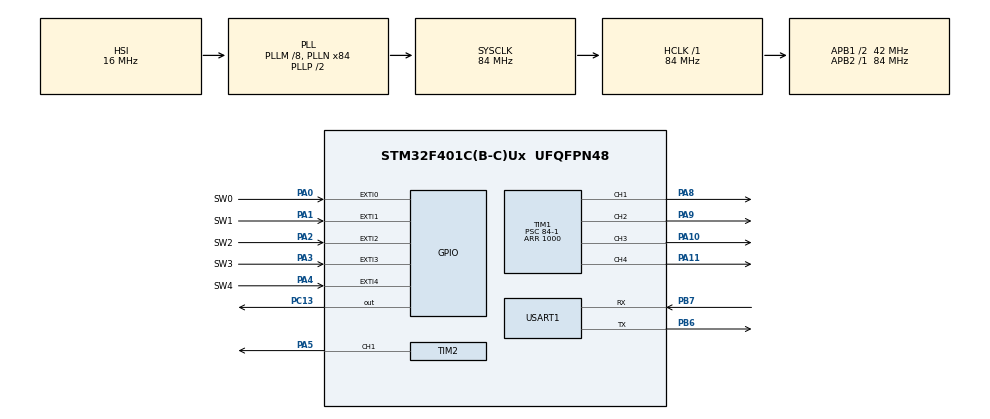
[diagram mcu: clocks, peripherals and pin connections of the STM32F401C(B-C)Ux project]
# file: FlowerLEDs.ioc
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Mcu.Family=STM32F4
Mcu.Name=STM32F401C(B-C)Ux
Mcu.Package=UFQFPN48
NVIC.EXTI0_IRQn=true\:0\:0\:false\:false\:true\:true\:true\:true
NVIC.EXTI1_IRQn=true\:0\:0\:false\:false\:true\:true\:true\:true
NVIC.EXTI2_IRQn=true\:0\:0\:false\:false\:true\:true\:true\:true
NVIC.EXTI3_IRQn=true\:0\:0\:false\:false\:true\:true\:true\:true
NVIC.EXTI4_IRQn=true\:0\:0\:false\:false\:true\:true\:true\:true
NVIC.PriorityGroup=NVIC_PRIORITYGROUP_4
NVIC.TIM3_IRQn=true\:2\:0\:true\:false\:true\:true\:true\:true
NVIC.TIM4_IRQn=true\:0\:0\:false\:false\:true\:true\:true\:true
NVIC.TIM5_IRQn=true\:0\:0\:false\:false\:true\:true\:true\:true
PA0-WKUP.GPIO_Label=SW0
PA0-WKUP.GPIO_ModeDefaultEXTI=GPIO_MODE_IT_RISING
PA0-WKUP.GPIO_PuPd=GPIO_PULLDOWN
PA0-WKUP.Signal=GPXTI0
PA1.GPIO_Label=SW1
PA1.GPIO_ModeDefaultEXTI=GPIO_MODE_IT_RISING
PA1.GPIO_PuPd=GPIO_PULLDOWN
PA1.Signal=GPXTI1
PA10.Signal=S_TIM1_CH3
PA11.Signal=S_TIM1_CH4
PA2.GPIO_Label=SW2
PA2.GPIO_ModeDefaultEXTI=GPIO_MODE_IT_RISING
PA2.GPIO_PuPd=GPIO_PULLDOWN
PA2.Signal=GPXTI2
PA3.GPIO_Label=SW3
PA3.GPIO_ModeDefaultEXTI=GPIO_MODE_IT_RISING
PA3.GPIO_PuPd=GPIO_PULLDOWN
PA3.Signal=GPXTI3
PA4.GPIO_Label=SW4
PA4.GPIO_ModeDefaultEXTI=GPIO_MODE_IT_RISING
PA4.GPIO_PuPd=GPIO_PULLDOWN
PA4.Signal=GPXTI4
PA5.Signal=S_TIM2_CH1_ETR
PA8.Signal=S_TIM1_CH1
PA9.Signal=S_TIM1_CH2
PB6.Mode=Asynchronous
PB6.Signal=USART1_TX
PB7.Mode=Asynchronous
PB7.Signal=USART1_RX
PC13-ANTI_TAMP.GPIO_ModeDefaultOutputPP=GPIO_MODE_OUTPUT_PP
PC13-ANTI_TAMP.GPIO_PuPd=GPIO_PULLUP
PC13-ANTI_TAMP.PinState=GPIO_PIN_SET
PC13-ANTI_TAMP.Signal=GPIO_Output
ProjectManager.HeapSize=0x200
ProjectManager.StackSize=0x400
ProjectManager.TargetToolchain=STM32CubeIDE
RCC.48MHZClocksFreq_Value=42000000
RCC.AHBFreq_Value=84000000
RCC.APB1CLKDivider=RCC_HCLK_DIV2
RCC.APB1Freq_Value=42000000
RCC.APB1TimFreq_Value=84000000
RCC.APB2Freq_Value=84000000
RCC.APB2TimFreq_Value=84000000
RCC.CortexFreq_Value=84000000
RCC.HCLKFreq_Value=84000000
RCC.HSE_VALUE=25000000
RCC.HSI_VALUE=16000000
RCC.LSE_VALUE=32768
RCC.PLLM=8
RCC.PLLN=84
RCC.SYSCLKFreq_VALUE=84000000
RCC.SYSCLKSource=RCC_SYSCLKSOURCE_PLLCLK
RCC.VCOOutputFreq_Value=168000000
SH.S_TIM1_CH1.0=TIM1_CH1,PWM Generation1 CH1
SH.S_TIM1_CH2.0=TIM1_CH2,PWM Generation2 CH2
SH.S_TIM1_CH3.0=TIM1_CH3,PWM Generation3 CH3
SH.S_TIM1_CH4.0=TIM1_CH4,PWM Generation4 CH4
SH.S_TIM2_CH1_ETR.0=TIM2_CH1,PWM Generation1 CH1
TIM1.AutoReloadPreload=TIM_AUTORELOAD_PRELOAD_ENABLE
TIM1.Channel-PWM\ Generation1\ CH1=TIM_CHANNEL_1
TIM1.Channel-PWM\ Generation2\ CH2=TIM_CHANNEL_2
TIM1.Channel-PWM\ Generation3\ CH3=TIM_CHANNEL_3
TIM1.Channel-PWM\ Generation4\ CH4=TIM_CHANNEL_4
TIM1.Period=1000
TIM1.Prescaler=84-1
TIM1.Pulse-PWM\ Generation1\ CH1=100
TIM1.Pulse-PWM\ Generation2\ CH2=200
TIM1.Pulse-PWM\ Generation3\ CH3=400
TIM1.Pulse-PWM\ Generation4\ CH4=800
TIM2.AutoReloadPreload=TIM_AUTORELOAD_PRELOAD_ENABLE
TIM2.Channel-PWM\ Generation1\ CH1=TIM_CHANNEL_1
TIM2.Period=1000
TIM2.Prescaler=84-1
TIM2.Pulse-PWM\ Generation1\ CH1=980
TIM3.AutoReloadPreload=TIM_AUTORELOAD_PRELOAD_ENABLE
TIM3.Period=4000-1
TIM3.Prescaler=840-1
TIM4.AutoReloadPreload=TIM_AUTORELOAD_PRELOAD_ENABLE
TIM4.Period=1000
TIM4.Prescaler=840-1
TIM5.AutoReloadPreload=TIM_AUTORELOAD_PRELOAD_ENABLE
TIM5.Period=5000
TIM5.Prescaler=8400-1
USART1.VirtualMode=VM_ASYNC
VP_TIM1_VS_ClockSourceINT.Mode=Internal
VP_TIM2_VS_ClockSourceINT.Mode=Internal
VP_TIM3_VS_ClockSourceINT.Mode=Internal
VP_TIM4_VS_ClockSourceINT.Mode=Internal
VP_TIM5_VS_ClockSourceINT.Mode=Internal
board=custom

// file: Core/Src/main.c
/* USER CODE BEGIN Header */
/**
  ******************************************************************************
  * @file           : main.c
  * @brief          : Main program body
  ******************************************************************************
  * @attention
  *
  * Copyright (c) 2023 STMicroelectronics.
  * All rights reserved.
  *
  * This software is licensed under terms that can be found in the LICENSE file
  * in the root directory of this software component.
  * If no LICENSE file comes with this software, it is provided AS-IS.
  *
  ******************************************************************************
  */
/* USER CODE END Header */
#include "main.h"
#include "tim.h"
#include "usart.h"
#include "gpio.h"

/* USER CODE BEGIN PD */
#define LED0  &htim1, TIM_CHANNEL_1
#define LED1  &htim1, TIM_CHANNEL_2
#define LED2  &htim1, TIM_CHANNEL_3
#define LED3  &htim1, TIM_CHANNEL_4
#define LED4  &htim2, TIM_CHANNEL_1
const uint32_t LEDchannel[5] = {TIM_CHANNEL_1, TIM_CHANNEL_2, TIM_CHANNEL_3, TIM_CHANNEL_4, TIM_CHANNEL_1};

#define SW_ON  SET
#define SW_OFF RESET
#define SW_EXTENDED_PRESSED_TIME 7

#define LED_ON 0
#define LED_OFF htim1.Init.Period
#define WAIT_TIME   6

#define LED_MAX_PERIOD  htim1.Init.Period

#define DEBUG
#define TAG "main"

#ifdef DEBUG
#define printf_t(format, ...) printf( format "\r\n", ##__VA_ARGS__)
#define info(format, ...) printf("[\t"TAG"]info:" format "\r\n", ##__VA_ARGS__)
#define debug(format, ...) printf("[\t"TAG"]debug:" format "\r\n", ##__VA_ARGS__)
#define error(format, ...) printf("[\t"TAG"]error:" format "\r\n",##__VA_ARGS__)
#else
#define printf(format, ...)
#define info(format, ...)
#define debug(format, ...)
#define error(format, ...)
#endif
/* USER CODE END PD */

/* USER CODE BEGIN PV */
int eventOfLED[5] = {0, 0, 0, 0, 0};      //event num of LEDs.  0:inAct   1:waitForAct    2.acted 3.failToAct 4.allActed

uint16_t pressedContOfSW[5] = {0};                              //count the time of pressed SW.

int waitForAct_LEDnum = -1;                                     //the LED num whose event is "waitForAct" right now.
                                                                //If no LED's event is "waitForAct", the value will be -1.

int contOfLEDlighting = 0;                                      //the value ++ when the "waitForAct" LED lightning each time.

int inActCont = 0;                                              //Count the time after the LEDs are "inAct".

int breathingIncreasement = 0;                                  //The value of increasement while renew breathing LEDs' PWM.
                                                                //It will be positive if breathing LEDs' PWM period is increasing,
                                                                // will be negative if breathing LEDs' PWM period is decreasing.
/* USER CODE END PV */

void SystemClock_Config(void);

/* USER CODE BEGIN 0 */
/**
    * @breif    Get a random number, I try to use FLASH to save System clock, but failed    :(
    *           So I just use HAL_GetTick() to get a random num.
    * @note     None
    * @param    None
    * @retval   uint32_t    random number
    */
uint32_t Get_RandomNum() {
//    HAL_FLASH_Unlock();
//    uint32_t randomData = *(__IO uint32_t*)0x08030000;
//    info("%lX", randomData);
//    HAL_FLASH_Lock();
//    HAL_FLASH_Lock();
    return HAL_GetTick();
}

/**
    * @breif    Renew FLASH but cannot run  :(
    * @note     None
    * @param    None
    * @retval   None
    */
void Renew_RandomNum() {
//    HAL_FLASH_Unlock();
//    uint32_t randomData = *(__IO uint32_t*)0x08030000;
//    uint32_t newRandomData = randomData;
//    HAL_FLASH_Program(FLASH_TYPEPROGRAM_WORD, 0x08030000, newRandomData ^ (HAL_GetTick() & 0x12344321));
//    uint32_t NewRandomData = *(__IO uint32_t*)0x08030000;
//    info("Renew! Data == %lX", NewRandomData);
//    info("getData == %lX", *(__IO uint32_t*)0x08030000);
//    HAL_FLASH_Lock();
}

/**
    * @breif    Start breathing LEDs, let all LEDs to breathe.
    * @note     None
    * @param    None
    * @retval   None
    */
void Set_AllLEDBreathing() {
    HAL_TIM_Base_Start_IT(&htim4);
    breathingIncreasement = -20;
}

/**
    * @breif    Set the duty ratio, to renew the PWM of LEDs.
    * @note     None
    * @param    LEDnum: the serial number of LED
    *           pwm: the duty ratio of LED's PWM
    * @retval   None
    */
void Set_LEDPWMtimer(int LEDnum, int pwm) {
    if (LEDnum >= 0 && LEDnum <= 3)                                            //TIM1 PWM
        __HAL_TIM_SET_COMPARE(&htim1, LEDchannel[LEDnum], pwm);
    else if (LEDnum == 4)                                                     //TIM2 PWM
        __HAL_TIM_SET_COMPARE(&htim2, LEDchannel[LEDnum], pwm);
    else
        error("LEDnum is out range!");
}

/**
    * @breif    Finite State Machine function: change a RANDOM LED's event to "waitForAct"
    * @note     None
    * @param    None
    * @retval   None
    */
void FSM_ChangeRandomEventTo_WaitForAct() {
    int LED = HAL_GetTick() % 5;                                        //Get a random number.
    HAL_TIM_Base_Start_IT(&htim5);
    if (eventOfLED[LED] == 0) {                                         //select the inAct LED, change it to waitForAct
        eventOfLED[LED] = 1;
        info("eventOfLED[%d} is changed from 0 to 1!", LED);
        waitForAct_LEDnum = LED;                                        //save the LEDnum whose event is "waitForAct"
        HAL_TIM_Base_Start_IT(&htim5);                              //Start lightning!
    } else if (eventOfLED[LED] != 4) {
        info("the randomNum is not in [0, 4], let it ++ and retry!");
        FSM_ChangeRandomEventTo_WaitForAct((LED + 1) % 5);      //selected the acted LED, change the LED number
    }
    contOfLEDlighting = 0;
}

/**
    * @breif    Finite State Machine function: change ALL LED's event to "failToAct"
    * @note     None
    * @param    None
    * @retval   None
    */
void FSM_ChangeAllEventTo_FailToAct() {
    for (int i = 0; i < 5; ++i) {
        eventOfLED[i] = 3;                                              //Turn all LEDs into "failToAct"
        Set_LEDPWMtimer(i, LED_OFF);                        //Turn off all LEDs
        info("%d  %d  %d  %d  %d, contOfLEDlighting == %d, inActCont == %d", eventOfLED[0], eventOfLED[1],
             eventOfLED[2], eventOfLED[3], eventOfLED[4], contOfLEDlighting, inActCont);
    }
    waitForAct_LEDnum = -1;                                             //delete the saved LEDnum whose event is "waitForAct"
    inActCont = 0;                                                      //count time(3s)
    breathingIncreasement = 0;                                                   //Turn off the breathing LEDs
    contOfLEDlighting = 0;
}

/**
    * @breif    Finite State Machine function: change the LED's event to "acted" and change a RANDOM LED's event to "waitForAct"
    * @note     None
    * @param    actLEDnum: the serial number of LED when SWx is pressed.
    * @retval   None
    */
void FSM_ChangeEventTo_Acted_AndChangeRandomLEDEventTo_WaitForAct(int actLEDnum) {
    if (eventOfLED[actLEDnum] == 1) {                                   //pressed the switch SWx correctly
        info("You pressed the switch SW%d correctly!", actLEDnum);
        eventOfLED[actLEDnum] = 2;                                      //Turn event of LEDx into "acted"
        Set_LEDPWMtimer(actLEDnum, LED_ON);                 //Turn on LEDx
        waitForAct_LEDnum = -1;                                         //delete the saved LEDnum whose event is "waitForAct"
        if (eventOfLED[0] == 2
            && eventOfLED[1] == 2
            && eventOfLED[2] == 2
            && eventOfLED[3] == 2
            && eventOfLED[4] == 2) {                                    //all LEDs are targetEvent
            for (int i = 0; i < 5; ++i) {
                eventOfLED[i] = 4;
            }
            Set_AllLEDBreathing();
            info("ALL LED ARE ACTED!!!");
        }
        int randomNum = HAL_GetTick() % 5;
        info("Change random LED event to WaitForAct, random num is %d", randomNum);
        FSM_ChangeRandomEventTo_WaitForAct(randomNum);
    } else if (eventOfLED[actLEDnum] != 1) {                            //Wrong SW is pressed,
        error("WRONG SW%d is pressed!", actLEDnum);                     //turn all event of LED into "failToAct"
        FSM_ChangeAllEventTo_FailToAct();
    }
}

/**
    * @breif    Finite State Machine function: change ALL LED's event to "inAct"
    * @note     None
    * @param    None
    * @retval   None
    */
void FSM_ChangeAllEventTo_InAct() {
    info("Change all event to \"inAct\"");
    for (int i = 0; i < 5; ++i) {
        eventOfLED[i] = 0;
        Set_LEDPWMtimer(i, LED_OFF);                                        //Turn off all LEDs
        error("%d  %d  %d  %d  %d, contOfLEDlighting == %d, inActCont == %d", eventOfLED[0], eventOfLED[1],
              eventOfLED[2], eventOfLED[3], eventOfLED[4], contOfLEDlighting, inActCont);
    }
    breathingIncreasement = 0;                                                                    //Turn off the breathing LEDs
    waitForAct_LEDnum = -1;                                                              //Delete the "waitForAct" LEDnum
    HAL_TIM_Base_Start_IT(&htim5);                                                  //3s timer
}
/* USER CODE END 0 */

int main(void) {

    /* MCU Configuration--------------------------------------------------------*/

    /* Reset of all peripherals, Initializes the Flash interface and the Systick. */
    HAL_Init();

    /* Configure the system clock */
    SystemClock_Config();

    /* Initialize all configured peripherals */
    MX_GPIO_Init();
    MX_TIM1_Init();
    MX_TIM2_Init();
    MX_USART1_UART_Init();
    MX_TIM3_Init();
    MX_TIM4_Init();
    MX_TIM5_Init();
    /* USER CODE BEGIN 2 */
    info("STM32, Start!");
//    FLASH_EraseInitTypeDef EraseInitStruct;
//    EraseInitStruct.TypeErase = FLASH_TYPEERASE_SECTORS;
//    EraseInitStruct.Sector = 5;
//    EraseInitStruct.NbSectors = 1;
//    HAL_FLASHEx_Erase(&EraseInitStruct, 0x0);
    HAL_TIM_PWM_Start(LED0);           //LED PWM Start! !!!you should shut off after test.
    HAL_TIM_PWM_Start(LED1);
    HAL_TIM_PWM_Start(LED2);
    HAL_TIM_PWM_Start(LED3);
    HAL_TIM_PWM_Start(LED4);

    HAL_TIM_Base_Start_IT(&htim5);
    /* USER CODE END 2 */

    /* Infinite loop */
    while (1) {
        HAL_Delay(500);
        info("%d  %d  %d  %d  %d, contOfLEDlighting == %d, inActCont == %d", eventOfLED[0], eventOfLED[1],
             eventOfLED[2], eventOfLED[3], eventOfLED[4], contOfLEDlighting, inActCont);
    }
}

void SystemClock_Config(void) {
    RCC_OscInitTypeDef RCC_OscInitStruct = {0};
    RCC_ClkInitTypeDef RCC_ClkInitStruct = {0};

    /** Configure the main internal regulator output voltage
    */
    __HAL_RCC_PWR_CLK_ENABLE();
    __HAL_PWR_VOLTAGESCALING_CONFIG(PWR_REGULATOR_VOLTAGE_SCALE2);

    /** Initializes the RCC Oscillators according to the specified parameters
    * in the RCC_OscInitTypeDef structure.
    */
    RCC_OscInitStruct.OscillatorType = RCC_OSCILLATORTYPE_HSI;
    RCC_OscInitStruct.HSIState = RCC_HSI_ON;
    RCC_OscInitStruct.HSICalibrationValue = RCC_HSICALIBRATION_DEFAULT;
    RCC_OscInitStruct.PLL.PLLState = RCC_PLL_ON;
    RCC_OscInitStruct.PLL.PLLSource = RCC_PLLSOURCE_HSI;
    RCC_OscInitStruct.PLL.PLLM = 8;
    RCC_OscInitStruct.PLL.PLLN = 84;
    RCC_OscInitStruct.PLL.PLLP = RCC_PLLP_DIV2;
    RCC_OscInitStruct.PLL.PLLQ = 4;
    if (HAL_RCC_OscConfig(&RCC_OscInitStruct) != HAL_OK) {
        Error_Handler();
    }

    /** Initializes the CPU, AHB and APB buses clocks
    */
    RCC_ClkInitStruct.ClockType = RCC_CLOCKTYPE_HCLK | RCC_CLOCKTYPE_SYSCLK
                                  | RCC_CLOCKTYPE_PCLK1 | RCC_CLOCKTYPE_PCLK2;
    RCC_ClkInitStruct.SYSCLKSource = RCC_SYSCLKSOURCE_PLLCLK;
    RCC_ClkInitStruct.AHBCLKDivider = RCC_SYSCLK_DIV1;
    RCC_ClkInitStruct.APB1CLKDivider = RCC_HCLK_DIV2;
    RCC_ClkInitStruct.APB2CLKDivider = RCC_HCLK_DIV1;

    if (HAL_RCC_ClockConfig(&RCC_ClkInitStruct, FLASH_LATENCY_2) != HAL_OK) {
        Error_Handler();
    }
}

/* USER CODE BEGIN 4 */
void TIM3unit(GPIO_TypeDef *SW_GPIO_Port, uint16_t SW_Pin, int LEDnum) {
    if (HAL_GPIO_ReadPin(SW_GPIO_Port, SW_Pin) == SW_ON) {                  //SWx is under pressed
        pressedContOfSW[LEDnum]++;
        info("SW%d Pressed! pressedContOfSW[%d] == %d", LEDnum, LEDnum, pressedContOfSW[LEDnum]);
    } else if (HAL_GPIO_ReadPin(SW_GPIO_Port, SW_Pin) == SW_OFF && pressedContOfSW[LEDnum] != 0) {  //SWx is releasing
        contOfLEDlighting = 0;
        info("contOfLEDlighting is set to 0!, pressedContOfSW[%d] == %d", LEDnum, pressedContOfSW[LEDnum]);
        if (eventOfLED[LEDnum] == 3 && pressedContOfSW[LEDnum] > SW_EXTENDED_PRESSED_TIME) {      //LEDx is "failToAct"
            pressedContOfSW[LEDnum] = 0;
            info("SW%d is pressed extendedly!");
            FSM_ChangeAllEventTo_InAct();
            return;
        }
        pressedContOfSW[LEDnum] = 0;
        if (eventOfLED[LEDnum] == 1)                                                             //LEDx is "waitToAct"
        {
            FSM_ChangeEventTo_Acted_AndChangeRandomLEDEventTo_WaitForAct(LEDnum);
        } else if (eventOfLED[LEDnum] == 4) {                                                      //LED is all acted
            return;
        } else {                                                                                   //Wrong SW is pressed
            FSM_ChangeAllEventTo_FailToAct();
            info("0");
        }
    }

}

void LEDlightingUnit(int LEDnum) {
    if (contOfLEDlighting >= WAIT_TIME) {                              //Time is out
        HAL_TIM_Base_Stop(&htim5);
        contOfLEDlighting = 0;
        FSM_ChangeAllEventTo_FailToAct();
        info("1");
    }
    if (contOfLEDlighting % 2 != LED_ON) {
        contOfLEDlighting++;
        Set_LEDPWMtimer(LEDnum, LED_ON);
        info("LED%d turn ON!, contOfLEDlighting == %d", LEDnum, contOfLEDlighting);
    } else {
        contOfLEDlighting++;
        Set_LEDPWMtimer(LEDnum, LED_OFF);
        info("LED%d turn OFF!, contOfLEDlighting == %d", LEDnum, contOfLEDlighting);
    }
}

void HAL_TIM_PeriodElapsedCallback(TIM_HandleTypeDef *htim) {
    if (htim->Instance == htim4.Instance) {
        static int periodOfBreathingLED;
        if (periodOfBreathingLED >= LED_MAX_PERIOD || periodOfBreathingLED <= 0)
            breathingIncreasement *= -1;                                //reverse the breathingIncreasement's direction
        if (breathingIncreasement != 0)                                              //if breathing LED should be on
            periodOfBreathingLED += breathingIncreasement;                           //Refresh the breathing LED's period
        for (int i = 0; i < 5; ++i) {
            Set_LEDPWMtimer(i, periodOfBreathingLED);
        }
    }
    if (htim->Instance == htim3.Instance) {                                             //40ms timer to smooth the SW
        TIM3unit(SW0_GPIO_Port, SW0_Pin, 0);
        TIM3unit(SW1_GPIO_Port, SW1_Pin, 1);
        TIM3unit(SW2_GPIO_Port, SW2_Pin, 2);
        TIM3unit(SW3_GPIO_Port, SW3_Pin, 3);
        TIM3unit(SW4_GPIO_Port, SW4_Pin, 4);

    }

    if (htim->Instance == htim5.Instance) {                                                 //0.5s timer
        if (eventOfLED[0] == 0 && eventOfLED[1] == 0 && eventOfLED[2] == 0 && eventOfLED[3] == 0 &&
            eventOfLED[4] == 0) {                                                           //all LEDs are inactivated
            inActCont++;
            if (inActCont == 7) {                                                           //3s
                FSM_ChangeRandomEventTo_WaitForAct();
                inActCont = 0;
                HAL_TIM_Base_Stop(&htim5);
            }
        }
        if (waitForAct_LEDnum != -1) {                                                      //TIM1 PWM LEDs
            LEDlightingUnit(waitForAct_LEDnum);
        }
    }
}

void HAL_GPIO_EXTI_Callback(uint16_t GPIO_Pin) {
    if (GPIO_Pin == SW0_Pin) {                                                              //SW0
        HAL_TIM_Base_Start_IT(&htim3);
    }
    if (GPIO_Pin == SW1_Pin) {                                                              //SW1
        HAL_TIM_Base_Start_IT(&htim3);
    }
    if (GPIO_Pin == SW2_Pin) {                                                              //SW2
        HAL_TIM_Base_Start_IT(&htim3);
    }
    if (GPIO_Pin == SW3_Pin) {                                                              //SW3
        HAL_TIM_Base_Start_IT(&htim3);
    }
    if (GPIO_Pin == SW4_Pin) {                                                              //SW4
        HAL_TIM_Base_Start_IT(&htim3);
    }
}

/* USER CODE END 4 */

void Error_Handler(void) {
    __disable_irq();
    while (1) {
    }
}
